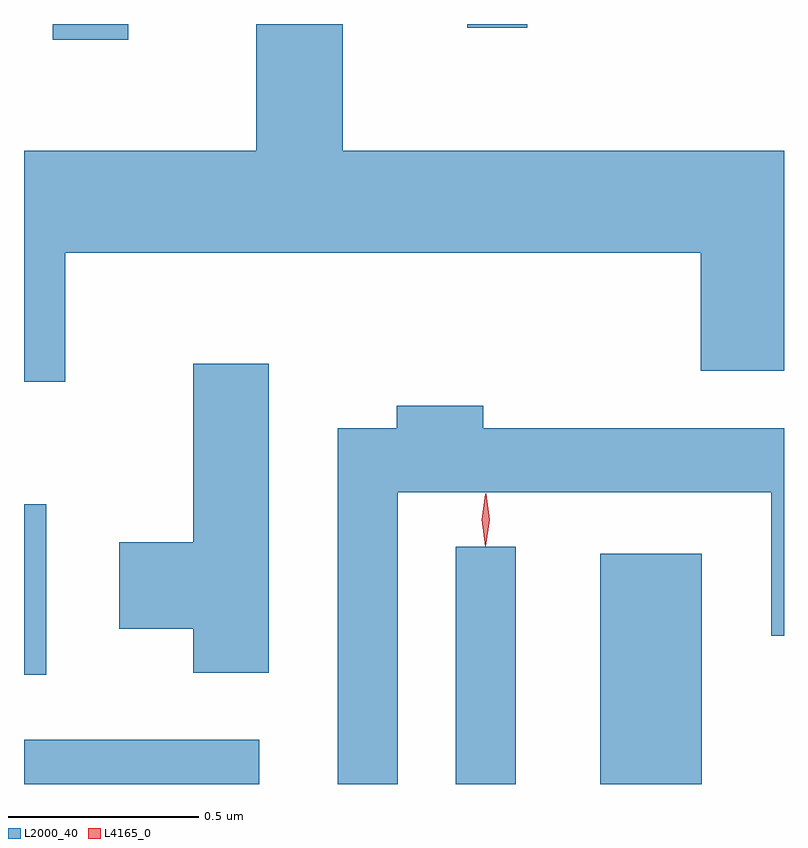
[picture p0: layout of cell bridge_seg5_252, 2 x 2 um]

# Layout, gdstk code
import gdstk
lib = gdstk.Library(unit=1e-6, precision=1e-09)
def R(c, l, rs):  # rectangles x0, y0, x1, y1
    for r in rs: c.add(gdstk.rectangle(r[:2], r[2:], *l))
def P(c, l, *ps):  # polygons
    for p in ps: c.add(gdstk.Polygon(p, *l))
L2000_40 = (2000, 40)
L4165_0 = (4165, 0)

bridge_seg5_252 = lib.new_cell('bridge_seg5_252')
R(bridge_seg5_252, L2000_40, [(1323.74,1426.538,1324.359,1426.654), (1324.876,1426.538,1325.034,1427.163), (1325.256,1426.538,1325.524,1427.144), (1323.74,1426.826,1323.799,1427.274), (1323.816,1428.496,1324.014,1428.538), (1324.906,1428.528,1325.064,1428.538)])
P(bridge_seg5_252, L2000_40, [(1323.849,1427.936),(1325.521,1427.936),(1325.521,1427.626),(1325.74,1427.626),(1325.74,1428.204),(1324.579,1428.204),(1324.579,1428.538),(1324.351,1428.538),(1324.351,1428.204),(1323.74,1428.204),(1323.74,1427.596),(1323.849,1427.596)],
  [(1324.384,1427.644),(1324.186,1427.644),(1324.186,1427.174),(1323.991,1427.174),(1323.991,1426.946),(1324.186,1426.946),(1324.186,1426.831),(1324.384,1426.831)],
  [(1324.724,1427.306),(1325.706,1427.306),(1325.706,1426.928),(1325.74,1426.928),(1325.74,1427.474),(1324.949,1427.474),(1324.949,1427.534),(1324.721,1427.534),(1324.721,1427.474),(1324.566,1427.474),(1324.566,1426.538),(1324.724,1426.538)])
P(bridge_seg5_252, L4165_0, [(1324.954,1427.167),(1324.944,1427.234),(1324.954,1427.3),(1324.954,1427.3),(1324.955,1427.3),(1324.964,1427.234),(1324.955,1427.167),(1324.955,1427.167)],
  [(1324.954,1427.164),(1324.945,1427.234),(1324.955,1427.302),(1324.955,1427.303),(1324.956,1427.302),(1324.965,1427.233),(1324.955,1427.164),(1324.955,1427.164)])

lib.write_gds('bridge_seg5_252.gds')
